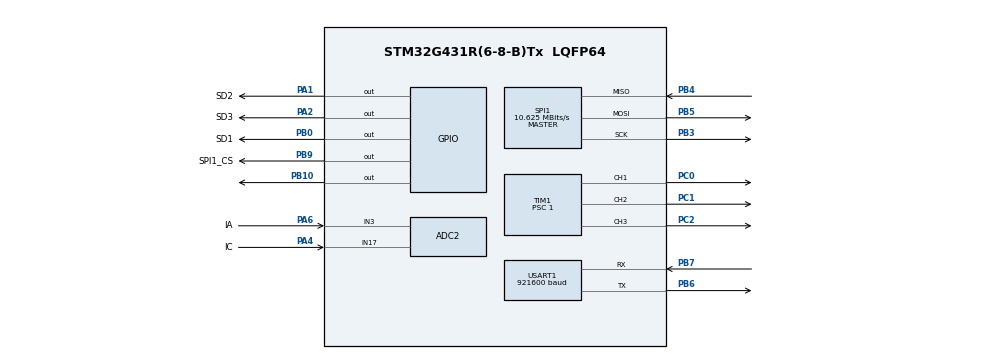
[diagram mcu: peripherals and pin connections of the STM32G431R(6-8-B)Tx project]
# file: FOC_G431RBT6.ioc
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ADC2.ContinuousConvMode=DISABLE
ADC2.EOCSelection=ADC_EOC_SINGLE_CONV
ADC2.EnableInjectedConversion=ENABLE
ADC2.EnableRegularConversion=DISABLE
ADC2.ExternalTrigInjecConv=ADC_EXTERNALTRIGINJEC_T1_TRGO
ADC2.InjNumberOfConversion=2
ADC2.InjectedChannel-1\#ChannelInjectedConversion=ADC_CHANNEL_3
ADC2.InjectedChannel-3\#ChannelInjectedConversion=ADC_CHANNEL_17
ADC2.InjectedOffsetNumber-1\#ChannelInjectedConversion=ADC_OFFSET_NONE
ADC2.InjectedOffsetNumber-3\#ChannelInjectedConversion=ADC_OFFSET_NONE
ADC2.InjectedRank-1\#ChannelInjectedConversion=1
ADC2.InjectedRank-3\#ChannelInjectedConversion=2
ADC2.InjectedSamplingTime-1\#ChannelInjectedConversion=ADC_SAMPLETIME_24CYCLES_5
ADC2.InjectedSamplingTime-3\#ChannelInjectedConversion=ADC_SAMPLETIME_24CYCLES_5
ADC2.injectedQueueMode=DISABLE
Dma.Request0=USART1_RX
Dma.Request1=USART1_TX
Dma.Request2=SPI1_RX
Dma.Request3=SPI1_TX
Dma.SPI1_RX.2.Direction=DMA_PERIPH_TO_MEMORY
Dma.SPI1_RX.2.EventEnable=DISABLE
Dma.SPI1_RX.2.Instance=DMA1_Channel3
Dma.SPI1_RX.2.MemDataAlignment=DMA_MDATAALIGN_BYTE
Dma.SPI1_RX.2.MemInc=DMA_MINC_ENABLE
Dma.SPI1_RX.2.Mode=DMA_NORMAL
Dma.SPI1_RX.2.PeriphDataAlignment=DMA_PDATAALIGN_BYTE
Dma.SPI1_RX.2.PeriphInc=DMA_PINC_DISABLE
Dma.SPI1_RX.2.Polarity=HAL_DMAMUX_REQ_GEN_RISING
Dma.SPI1_RX.2.Priority=DMA_PRIORITY_LOW
Dma.SPI1_RX.2.RequestNumber=1
Dma.SPI1_RX.2.SignalID=NONE
Dma.SPI1_RX.2.SyncEnable=DISABLE
Dma.SPI1_RX.2.SyncPolarity=HAL_DMAMUX_SYNC_NO_EVENT
Dma.SPI1_RX.2.SyncRequestNumber=1
Dma.SPI1_RX.2.SyncSignalID=NONE
Dma.SPI1_TX.3.Direction=DMA_MEMORY_TO_PERIPH
Dma.SPI1_TX.3.EventEnable=DISABLE
Dma.SPI1_TX.3.Instance=DMA1_Channel4
Dma.SPI1_TX.3.MemDataAlignment=DMA_MDATAALIGN_BYTE
Dma.SPI1_TX.3.MemInc=DMA_MINC_ENABLE
Dma.SPI1_TX.3.Mode=DMA_NORMAL
Dma.SPI1_TX.3.PeriphDataAlignment=DMA_PDATAALIGN_BYTE
Dma.SPI1_TX.3.PeriphInc=DMA_PINC_DISABLE
Dma.SPI1_TX.3.Polarity=HAL_DMAMUX_REQ_GEN_RISING
Dma.SPI1_TX.3.Priority=DMA_PRIORITY_LOW
Dma.SPI1_TX.3.RequestNumber=1
Dma.SPI1_TX.3.SignalID=NONE
Dma.SPI1_TX.3.SyncEnable=DISABLE
Dma.SPI1_TX.3.SyncPolarity=HAL_DMAMUX_SYNC_NO_EVENT
Dma.SPI1_TX.3.SyncRequestNumber=1
Dma.SPI1_TX.3.SyncSignalID=NONE
Dma.USART1_RX.0.Direction=DMA_PERIPH_TO_MEMORY
Dma.USART1_RX.0.EventEnable=DISABLE
Dma.USART1_RX.0.Instance=DMA1_Channel1
Dma.USART1_RX.0.MemDataAlignment=DMA_MDATAALIGN_BYTE
Dma.USART1_RX.0.MemInc=DMA_MINC_ENABLE
Dma.USART1_RX.0.Mode=DMA_NORMAL
Dma.USART1_RX.0.PeriphDataAlignment=DMA_PDATAALIGN_BYTE
Dma.USART1_RX.0.PeriphInc=DMA_PINC_DISABLE
Dma.USART1_RX.0.Polarity=HAL_DMAMUX_REQ_GEN_RISING
Dma.USART1_RX.0.Priority=DMA_PRIORITY_LOW
Dma.USART1_RX.0.RequestNumber=1
Dma.USART1_RX.0.SignalID=NONE
Dma.USART1_RX.0.SyncEnable=DISABLE
Dma.USART1_RX.0.SyncPolarity=HAL_DMAMUX_SYNC_NO_EVENT
Dma.USART1_RX.0.SyncRequestNumber=1
Dma.USART1_RX.0.SyncSignalID=NONE
Dma.USART1_TX.1.Direction=DMA_MEMORY_TO_PERIPH
Dma.USART1_TX.1.EventEnable=DISABLE
Dma.USART1_TX.1.Instance=DMA1_Channel2
Dma.USART1_TX.1.MemDataAlignment=DMA_MDATAALIGN_BYTE
Dma.USART1_TX.1.MemInc=DMA_MINC_ENABLE
Dma.USART1_TX.1.Mode=DMA_NORMAL
Dma.USART1_TX.1.PeriphDataAlignment=DMA_PDATAALIGN_BYTE
Dma.USART1_TX.1.PeriphInc=DMA_PINC_DISABLE
Dma.USART1_TX.1.Polarity=HAL_DMAMUX_REQ_GEN_RISING
Dma.USART1_TX.1.Priority=DMA_PRIORITY_MEDIUM
Dma.USART1_TX.1.RequestNumber=1
Dma.USART1_TX.1.SignalID=NONE
Dma.USART1_TX.1.SyncEnable=DISABLE
Dma.USART1_TX.1.SyncPolarity=HAL_DMAMUX_SYNC_NO_EVENT
Dma.USART1_TX.1.SyncRequestNumber=1
Dma.USART1_TX.1.SyncSignalID=NONE
Mcu.Family=STM32G4
Mcu.Name=STM32G431R(6-8-B)Tx
Mcu.Package=LQFP64
Mcu.UserConstants=motor_pwm_freq,8000
NVIC.ADC1_2_IRQn=true\:0\:0\:true\:false\:true\:true\:true\:true
NVIC.DMA1_Channel1_IRQn=true\:0\:0\:false\:false\:true\:false\:true\:true
NVIC.DMA1_Channel2_IRQn=true\:0\:0\:false\:false\:true\:false\:true\:true
NVIC.DMA1_Channel3_IRQn=true\:0\:0\:false\:false\:true\:false\:true\:true
NVIC.DMA1_Channel4_IRQn=true\:0\:0\:false\:false\:true\:false\:true\:true
NVIC.PriorityGroup=NVIC_PRIORITYGROUP_4
NVIC.USART1_IRQn=true\:2\:0\:true\:false\:true\:true\:true\:true
PA1.GPIO_Label=SD2
PA1.GPIO_Speed=GPIO_SPEED_FREQ_VERY_HIGH
PA1.PinState=GPIO_PIN_RESET
PA1.Signal=GPIO_Output
PA13.Mode=Serial_Wire
PA13.Signal=SYS_JTMS-SWDIO
PA14.Mode=Serial_Wire
PA14.Signal=SYS_JTCK-SWCLK
PA2.GPIO_Label=SD3
PA2.GPIO_Speed=GPIO_SPEED_FREQ_VERY_HIGH
PA2.PinState=GPIO_PIN_RESET
PA2.Signal=GPIO_Output
PA4.GPIO_Label=IC
PA4.Mode=IN17-Single-Ended
PA4.Signal=ADC2_IN17
PA6.GPIO_Label=IA
PA6.Mode=IN3-Single-Ended
PA6.Signal=ADC2_IN3
PB0.GPIO_Label=SD1
PB0.GPIO_Speed=GPIO_SPEED_FREQ_VERY_HIGH
PB0.PinState=GPIO_PIN_RESET
PB0.Signal=GPIO_Output
PB10.GPIO_Speed=GPIO_SPEED_FREQ_HIGH
PB10.PinState=GPIO_PIN_RESET
PB10.Signal=GPIO_Output
PB3.Mode=Full_Duplex_Master
PB3.Signal=SPI1_SCK
PB4.Mode=Full_Duplex_Master
PB4.Signal=SPI1_MISO
PB5.Mode=Full_Duplex_Master
PB5.Signal=SPI1_MOSI
PB6.Mode=Asynchronous
PB6.Signal=USART1_TX
PB7.Mode=Asynchronous
PB7.Signal=USART1_RX
PB9.GPIO_Label=SPI1_CS
PB9.PinState=GPIO_PIN_SET
PB9.Signal=GPIO_Output
PC0.Signal=S_TIM1_CH1
PC1.Signal=S_TIM1_CH2
PC2.Signal=S_TIM1_CH3
PF0-OSC_IN.Mode=HSE-External-Oscillator
PF0-OSC_IN.Signal=RCC_OSC_IN
PF1-OSC_OUT.Mode=HSE-External-Oscillator
PF1-OSC_OUT.Signal=RCC_OSC_OUT
ProjectManager.HeapSize=0x400
ProjectManager.StackSize=0x600
ProjectManager.TargetToolchain=MDK-ARM V5
RCC.ADC12Freq_Value=170000000
RCC.AHBFreq_Value=170000000
RCC.APB1Freq_Value=170000000
RCC.APB1TimFreq_Value=170000000
RCC.APB2Freq_Value=170000000
RCC.APB2TimFreq_Value=170000000
RCC.CortexFreq_Value=170000000
RCC.EXTERNAL_CLOCK_VALUE=12288000
RCC.HCLKFreq_Value=170000000
RCC.HSE_VALUE=16000000
RCC.HSI48_VALUE=48000000
RCC.HSI_VALUE=16000000
RCC.LSE_VALUE=32768
RCC.PLLM=RCC_PLLM_DIV4
RCC.PLLN=85
RCC.PLLSourceVirtual=RCC_PLLSOURCE_HSE
RCC.SYSCLKFreq_VALUE=170000000
RCC.SYSCLKSource=RCC_SYSCLKSOURCE_PLLCLK
RCC.USBFreq_Value=170000000
RCC.VCOOutputFreq_Value=340000000
SH.S_TIM1_CH1.0=TIM1_CH1,PWM Generation1 CH1
SH.S_TIM1_CH2.0=TIM1_CH2,PWM Generation2 CH2
SH.S_TIM1_CH3.0=TIM1_CH3,PWM Generation3 CH3
SPI1.BaudRatePrescaler=SPI_BAUDRATEPRESCALER_16
SPI1.CLKPhase=SPI_PHASE_2EDGE
SPI1.CLKPolarity=SPI_POLARITY_HIGH
SPI1.CalculateBaudRate=10.625 MBits/s
SPI1.DataSize=SPI_DATASIZE_8BIT
SPI1.Direction=SPI_DIRECTION_2LINES
SPI1.Mode=SPI_MODE_MASTER
SPI1.VirtualType=VM_MASTER
STMicroelectronics.X-CUBE-ALGOBUILD.1.4.0.LibraryCcDSPOoLibraryJjDSPOoLibrary=true
TIM1.AutoReloadPreload=TIM_AUTORELOAD_PRELOAD_ENABLE
TIM1.AutomaticOutput=TIM_AUTOMATICOUTPUT_DISABLE
TIM1.Break2Polarity=TIM_BREAK2POLARITY_LOW
TIM1.Break2State=TIM_BREAK2_DISABLE
TIM1.BreakPolarity=TIM_BREAKPOLARITY_LOW
TIM1.BreakState=TIM_BREAK_DISABLE
TIM1.Channel-PWM\ Generation1\ CH1=TIM_CHANNEL_1
TIM1.Channel-PWM\ Generation2\ CH2=TIM_CHANNEL_2
TIM1.Channel-PWM\ Generation3\ CH3=TIM_CHANNEL_3
TIM1.CounterMode=TIM_COUNTERMODE_CENTERALIGNED3
TIM1.LockLevel=TIM_LOCKLEVEL_1
TIM1.OCMode_PWM-PWM\ Generation1\ CH1=TIM_OCMODE_PWM2
TIM1.OCMode_PWM-PWM\ Generation2\ CH2=TIM_OCMODE_PWM2
TIM1.OCMode_PWM-PWM\ Generation3\ CH3=TIM_OCMODE_PWM2
TIM1.PeriodNoDither=(85000000/motor_pwm_freq)
TIM1.Prescaler=1
TIM1.RepetitionCounter=1
TIM1.TIM_MasterOutputTrigger=TIM_TRGO_UPDATE
USART1.BaudRate=921600
USART1.VirtualMode-Asynchronous=VM_ASYNC
VP_STMicroelectronics.X-CUBE-ALGOBUILD_VS_DSPOoLibraryJjLibrary_1.4.0_1.4.0.Mode=DSPOoLibraryJjLibrary
VP_SYS_VS_DBSignals.Mode=DisableDeadBatterySignals
VP_TIM1_VS_ClockSourceINT.Mode=Internal
board=custom

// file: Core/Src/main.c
/* USER CODE BEGIN Header */
/**
 ******************************************************************************
 * @file           : main.c
 * @brief          : Main program body
 ******************************************************************************
 * @attention
 *
 * Copyright (c) 2025 STMicroelectronics.
 * All rights reserved.
 *
 * This software is licensed under terms that can be found in the LICENSE file
 * in the root directory of this software component.
 * If no LICENSE file comes with this software, it is provided AS-IS.
 *
 ******************************************************************************
 */
/* USER CODE END Header */
#include "main.h"
#include "adc.h"
#include "dma.h"
#include "spi.h"
#include "tim.h"
#include "usart.h"
#include "gpio.h"

/* USER CODE BEGIN Includes */
#include "stdio.h"
#include "motor_runtime_param.h"
#include "global_def.h"
#include "conf.h"
#include "foc.h"
#include "arm_math.h"
#include "math.h"
/* USER CODE END Includes */

void SystemClock_Config(void);

/* USER CODE BEGIN 0 */
void set_pwm_duty(float d_u, float d_v, float d_w)
{
  d_u = min(d_u, 0.9);
  d_v = min(d_v, 0.9);
  d_w = min(d_w, 0.9);
  __disable_irq();
  __HAL_TIM_SET_COMPARE(&htim1, TIM_CHANNEL_1, (1 - d_u) * htim1.Instance->ARR);
  __HAL_TIM_SET_COMPARE(&htim1, TIM_CHANNEL_2, (1 - d_v) * htim1.Instance->ARR);
  __HAL_TIM_SET_COMPARE(&htim1, TIM_CHANNEL_3, (1 - d_w) * htim1.Instance->ARR);
  __enable_irq();
}

/* USER CODE END 0 */

int main(void)
{

  /* USER CODE BEGIN 1 */
  struct Frame
  {
    float data[2];
    unsigned char tail[4];
  };

  struct Frame frame = {.tail = {0x00, 0x00, 0x80, 0x7f}};
  /* USER CODE END 1 */

  /* MCU Configuration--------------------------------------------------------*/

  /* Reset of all peripherals, Initializes the Flash interface and the Systick. */
  HAL_Init();

  /* Configure the system clock */
  SystemClock_Config();

  /* Initialize all configured peripherals */
  MX_GPIO_Init();
  MX_DMA_Init();
  MX_SPI1_Init();
  MX_USART1_UART_Init();
  MX_TIM1_Init();
  MX_ADC2_Init();
  /* USER CODE BEGIN 2 */

  /*中断版本------------------------------------------------------------------*/
  LL_GPIO_ResetOutputPin(SPI1_CS_GPIO_Port, SPI1_CS_Pin); // 1️⃣ 拉低 CS
  LL_DMA_DisableChannel(DMA1, LL_DMA_CHANNEL_3);          // 2️⃣ 配置 DMA
  LL_DMA_DisableChannel(DMA1, LL_DMA_CHANNEL_4);
  LL_DMA_SetDataLength(DMA1, LL_DMA_CHANNEL_3, 2);
  LL_DMA_SetDataLength(DMA1, LL_DMA_CHANNEL_4, 2);

  LL_DMA_ConfigAddresses(DMA1, LL_DMA_CHANNEL_3,
                         LL_SPI_DMA_GetRegAddr(SPI1),
                         (uint32_t)KTH7823_rx_data,
                         LL_DMA_DIRECTION_PERIPH_TO_MEMORY);

  LL_DMA_ConfigAddresses(DMA1, LL_DMA_CHANNEL_4,
                         (uint32_t)KTH7823_tx_data,
                         LL_SPI_DMA_GetRegAddr(SPI1),
                         LL_DMA_DIRECTION_MEMORY_TO_PERIPH);

  LL_DMA_EnableIT_TC(DMA1, LL_DMA_CHANNEL_3);   // 打开接收中断
  LL_DMA_EnableChannel(DMA1, LL_DMA_CHANNEL_3); // 使能接收通道
  LL_DMA_EnableChannel(DMA1, LL_DMA_CHANNEL_4); // 使能发送通道

  LL_SPI_EnableDMAReq_TX(SPI1); // 4️⃣ 启动 SPI DMA 请求
  LL_SPI_EnableDMAReq_RX(SPI1);
  LL_SPI_Enable(SPI1);

  HAL_TIM_PWM_Start(&htim1, TIM_CHANNEL_1);
  HAL_TIM_PWM_Start(&htim1, TIM_CHANNEL_2);
  HAL_TIM_PWM_Start(&htim1, TIM_CHANNEL_3);

  HAL_ADCEx_Calibration_Start(&hadc2, ADC_SINGLE_ENDED);
  HAL_ADCEx_InjectedStart_IT(&hadc2);
  HAL_Delay(1000);

  HAL_GPIO_WritePin(SD1_GPIO_Port, SD1_Pin, GPIO_PIN_SET);
  HAL_GPIO_WritePin(SD2_GPIO_Port, SD2_Pin, GPIO_PIN_SET);
  HAL_GPIO_WritePin(SD3_GPIO_Port, SD3_Pin, GPIO_PIN_SET);

  // set_pwm_duty(0.1, 0, 0);
  // HAL_Delay(500);
  rotor_zero_angle = 0.110159; // 0编码器点校准
  // HAL_Delay(500);
  // set_pwm_duty(0, 0, 0);

  set_motor_pid(
      14, 0.0001, 20,
      0.08, 0.0001, 0,
      0.1, 0.004, 0,
      0.1, 0.004, 0);

  // set_motor_pid(
  //     14, 0.0001, 20,
  //     0.11, 0.00015, 0,
  //     0.08, 0.0004, 0,
  //     0.08, 0.0004, 0);

  // motor_control_context.torque_norm_d = 0;
  // motor_control_context.torque_norm_q = 0.6;
  // motor_control_context.type = control_type_torque;

  // motor_control_context.position = PI;
  // motor_control_context.max_speed = 40;
  // motor_control_context.max_torque_norm = 0.8;
  // motor_control_context.type = control_type_position_speed_torque;

  motor_control_context.speed = PI * 2 * 1;
  motor_control_context.type = control_type_speed_torque;

  /* USER CODE END 2 */

  /* Infinite loop */
  while (1)
  {

    /* USER CODE BEGIN 3 */

    // frame.data[0] = motor_i_q;
    // frame.data[1] = (encoder_angle - rotor_zero_angle) * 7;
    // HAL_UART_Transmit_DMA(&huart1, (uint8_t *)&frame, sizeof(frame));

    // HAL_Delay(1);
  }
  /* USER CODE END 3 */
}

void SystemClock_Config(void)
{
  LL_FLASH_SetLatency(LL_FLASH_LATENCY_4);
  while (LL_FLASH_GetLatency() != LL_FLASH_LATENCY_4)
  {
  }
  LL_PWR_EnableRange1BoostMode();
  LL_RCC_HSE_Enable();
  /* Wait till HSE is ready */
  while (LL_RCC_HSE_IsReady() != 1)
  {
  }

  LL_RCC_PLL_ConfigDomain_SYS(LL_RCC_PLLSOURCE_HSE, LL_RCC_PLLM_DIV_4, 85, LL_RCC_PLLR_DIV_2);
  LL_RCC_PLL_EnableDomain_SYS();
  LL_RCC_PLL_Enable();
  /* Wait till PLL is ready */
  while (LL_RCC_PLL_IsReady() != 1)
  {
  }

  LL_RCC_SetSysClkSource(LL_RCC_SYS_CLKSOURCE_PLL);
  LL_RCC_SetAHBPrescaler(LL_RCC_SYSCLK_DIV_2);
  /* Wait till System clock is ready */
  while (LL_RCC_GetSysClkSource() != LL_RCC_SYS_CLKSOURCE_STATUS_PLL)
  {
  }

  /* Insure 1us transition state at intermediate medium speed clock*/
  for (__IO uint32_t i = (170 >> 1); i != 0; i--)
    ;

  /* Set AHB prescaler*/
  LL_RCC_SetAHBPrescaler(LL_RCC_SYSCLK_DIV_1);
  LL_RCC_SetAPB1Prescaler(LL_RCC_APB1_DIV_1);
  LL_RCC_SetAPB2Prescaler(LL_RCC_APB2_DIV_1);
  LL_SetSystemCoreClock(170000000);

  /* Update the time base */
  if (HAL_InitTick(TICK_INT_PRIORITY) != HAL_OK)
  {
    Error_Handler();
  }
}

void Error_Handler(void)
{
  __disable_irq();
  while (1)
  {
  }
}
